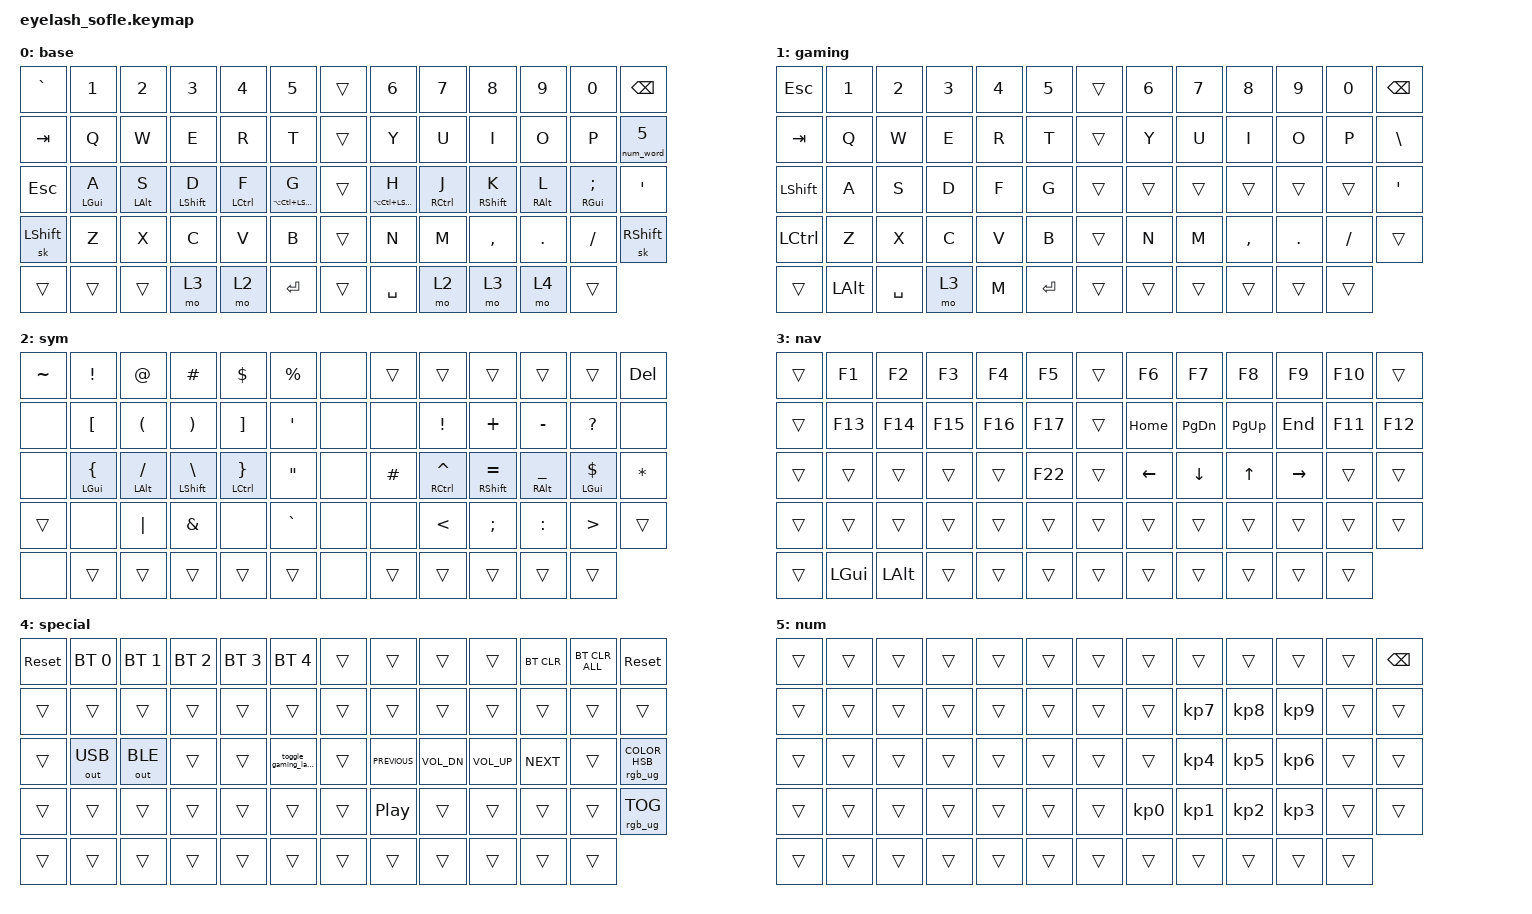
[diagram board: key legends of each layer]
#define ZMK_POINTING_DEFAULT_MOVE_VAL 1200  // 600
#define ZMK_POINTING_DEFAULT_SCRL_VAL 25   // 10

#include <input/processors.dtsi>
#include <zephyr/dt-bindings/input/input-event-codes.h>
#include <behaviors/num_word.dtsi>
#include <zmk-helpers/helper.h>
#include <zmk-helpers/key-labels/sofle.h>
#include <zmk-helpers/unicode-chars/spanish.dtsi>
#include <behaviors.dtsi>
#include <dt-bindings/zmk/bt.h>
#include <dt-bindings/zmk/keys.h>
#include <dt-bindings/zmk/outputs.h>
#include <dt-bindings/zmk/pointing.h>
#include <dt-bindings/zmk/rgb.h>

&mmv_input_listener { input-processors = <&zip_xy_scaler 2 1>; };

&msc_input_listener { input-processors = <&zip_scroll_scaler 2 1>; };

#define ___ &trans

/ {
    scroll_encoder: scroll_encoder {
        compatible = "zmk,behavior-sensor-rotate";
        #sensor-binding-cells = <0>;
        bindings = <&msc SCRL_DOWN>, <&msc SCRL_UP>;

        tap-ms = <100>;
    };

    behaviors {
        hml: home_row_mod_left {
            compatible = "zmk,behavior-hold-tap";
            #binding-cells = <2>;
            flavor = "balanced";
            require-prior-idle-ms = <125>;
            tapping-term-ms = <200>;
            quick-tap-ms = <175>;
            bindings = <&kp>, <&kp>;

            hold-trigger-key-positions = <13 14 15 16 17 18>;
            hold-trigger-on-release;
        };

        hmr: home_row_mod_right {
            compatible = "zmk,behavior-hold-tap";
            #binding-cells = <2>;
            flavor = "balanced";
            require-prior-idle-ms = <125>;
            tapping-term-ms = <200>;
            quick-tap-ms = <175>;
            bindings = <&kp>, <&kp>;

            hold-trigger-key-positions = <1 2 3 4 5 6>;
            hold-trigger-on-release;
        };

        hml_s: homerow_mod_left_sticky {
            compatible = "zmk,behavior-hold-tap";
            #binding-cells = <2>;
            flavor = "balanced";
            require-prior-idle-ms = <125>;
            tapping-term-ms = <200>;
            quick-tap-ms = <175>;
            bindings = <&sk>, <&kp>;

            hold-trigger-key-positions = <13 14 15 16 17 18>;
            hold-trigger-on-release;
            label = "homerow_mod_left_sticky";
        };

        hmr_s: homerow_mod_right_sticky {
            compatible = "zmk,behavior-hold-tap";
            #binding-cells = <2>;
            flavor = "balanced";
            require-prior-idle-ms = <125>;
            tapping-term-ms = <200>;
            quick-tap-ms = <175>;
            bindings = <&sk>, <&kp>;

            hold-trigger-key-positions = <1 2 3 4 5 6>;
            hold-trigger-on-release;
            label = "homerow_mod_right_sticky";
        };
    };

    macros {
        toggle_gaming_layer: toggle_gaming_layer {
            compatible = "zmk,behavior-macro";
            #binding-cells = <0>;
            bindings = <&tog 1 &rgb_ug RGB_TOG>;
            label = "TOGGLE_GAMING_LAYER";
        };
    };

    keymap {
        compatible = "zmk,keymap";

        base {
            bindings = <
&kp GRAVE       &kp N1           &kp N2           &kp N3             &kp N4                 &kp N5                   &trans  &kp N6                &kp N7                  &kp N8              &kp N9            &kp N0                    &kp BACKSPACE
&kp TAB         &kp Q            &kp W            &kp E              &kp R                  &kp T                    &trans  &kp Y                 &kp U                   &kp I               &kp O             &kp P                     &num_word 5
&kp ESCAPE      &hml LEFT_GUI A  &hml LEFT_ALT S  &hml LEFT_SHIFT D  &hml_s LEFT_CONTROL F  &hml LA(LC(LSHIFT)) G    &trans  &hmr LA(LC(LSHFT)) H  &hmr_s RIGHT_CONTROL J  &hmr RIGHT_SHIFT K  &hmr RIGHT_ALT L  &hmr RIGHT_GUI SEMICOLON  &kp SQT
&sk LEFT_SHIFT  &kp Z            &kp X            &kp C              &kp V                  &kp B                    &trans  &kp N                 &kp M                   &kp COMMA           &kp DOT           &kp SLASH                 &sk RIGHT_SHIFT
&trans          &trans           &trans           &mo 3              &mo 2                  &kp ENTER                &trans  &kp SPACE             &mo 2                   &mo 3               &mo 4             &trans
            >;

            display-name = "base";
        };

        gaming {
            bindings = <
&kp ESC    &kp N1        &kp N2     &kp N3  &kp N4  &kp N5       &trans  &kp N6  &kp N7  &kp N8     &kp N9   &kp N0    &kp BSPC
&kp TAB    &kp Q         &kp W      &kp E   &kp R   &kp T        &trans  &kp Y   &kp U   &kp I      &kp O    &kp P     &kp BSLH
&kp LSHFT  &kp A         &kp S      &kp D   &kp F   &kp G        &trans  &trans  &trans  &trans     &trans   &trans    &kp SQT
&kp LCTRL  &kp Z         &kp X      &kp C   &kp V   &kp B        &trans  &kp N   &kp M   &kp COMMA  &kp DOT  &kp FSLH  &trans
&trans     &kp LEFT_ALT  &kp SPACE  &mo 3   &kp M   &kp ENTER    &trans  &trans  &trans  &trans     &trans   &trans
            >;
        };

        sym {
            bindings = <
&kp TILDE  &kp EXCL                  &kp AT_SIGN           &kp HASH                     &kp DOLLAR                &kp PERCENT          &none  &trans    &trans              &trans                    &trans                     &trans                &kp DELETE
&none      &kp LEFT_BRACKET          &kp LEFT_PARENTHESIS  &kp RIGHT_PARENTHESIS        &kp RIGHT_BRACKET         &kp SINGLE_QUOTE     &none  &none     &kp EXCL            &kp PLUS                  &kp MINUS                  &kp QMARK             &none
&none      &hml LEFT_GUI LEFT_BRACE  &hml LEFT_ALT SLASH   &hml_s LEFT_SHIFT BACKSLASH  &hml_s LCTRL RIGHT_BRACE  &kp DOUBLE_QUOTES    &none  &kp HASH  &hmr_s RCTRL CARET  &hmr_s RIGHT_SHIFT EQUAL  &hmr RIGHT_ALT UNDERSCORE  &hmr LEFT_GUI DOLLAR  &kp STAR
&trans     &none                     &kp PIPE              &kp AMPERSAND                &none                     &kp GRAVE            &none  &none     &kp LESS_THAN       &kp SEMI                  &kp COLON                  &kp GREATER_THAN      &trans
&none      &trans                    &trans                &trans                       &trans                    &trans               &none  &trans    &trans              &trans                    &trans                     &trans
            >;

            display-name = "sym";
        };

        nav {
            bindings = <
&trans  &kp F1        &kp F2    &kp F3   &kp F4   &kp F5     &trans  &kp F6    &kp F7          &kp F8       &kp F9     &kp F10  &trans
&trans  &kp F13       &kp F14   &kp F15  &kp F16  &kp F17    &trans  &kp HOME  &kp PAGE_DOWN   &kp PAGE_UP  &kp END    &kp F11  &kp F12
&trans  &trans        &trans    &trans   &trans   &kp F22    &trans  &kp LEFT  &kp DOWN_ARROW  &kp UP       &kp RIGHT  &trans   &trans
&trans  &trans        &trans    &trans   &trans   &trans     &trans  &trans    &trans          &trans       &trans     &trans   &trans
&trans  &kp LEFT_GUI  &kp LALT  &trans   &trans   &trans     &trans  &trans    &trans          &trans       &trans     &trans
            >;
        };

        special {
            bindings = <
&sys_reset  &bt BT_SEL 0  &bt BT_SEL 1  &bt BT_SEL 2  &bt BT_SEL 3  &bt BT_SEL 4            &trans  &trans            &trans        &trans        &bt BT_CLR  &bt BT_CLR_ALL  &sys_reset
&trans      &trans        &trans        &trans        &trans        &trans                  &trans  &trans            &trans        &trans        &trans      &trans          &trans
&trans      &out OUT_USB  &out OUT_BLE  &trans        &trans        &toggle_gaming_layer    &trans  &kp C_PREVIOUS    &kp C_VOL_DN  &kp C_VOL_UP  &kp C_NEXT  &trans          &rgb_ug RGB_COLOR_HSB(290,100,50)
&trans      &trans        &trans        &trans        &trans        &trans                  &trans  &kp C_PLAY_PAUSE  &trans        &trans        &trans      &trans          &rgb_ug RGB_TOG
&trans      &trans        &trans        &trans        &trans        &trans                  &trans  &trans            &trans        &trans        &trans      &trans
            >;

            display-name = "special";
        };

        num {
            bindings = <
&trans  &trans  &trans  &trans  &trans  &trans    &trans  &trans     &trans           &trans           &trans           &trans  &kp BSPC
&trans  &trans  &trans  &trans  &trans  &trans    &trans  &trans     &kp KP_NUMBER_7  &kp KP_NUMBER_8  &kp KP_NUMBER_9  &trans  &trans
&trans  &trans  &trans  &trans  &trans  &trans    &trans  &trans     &kp KP_NUMBER_4  &kp KP_NUMBER_5  &kp KP_NUMBER_6  &trans  &trans
&trans  &trans  &trans  &trans  &trans  &trans    &trans  &kp KP_N0  &kp KP_NUMBER_1  &kp KP_NUMBER_2  &kp KP_NUMBER_3  &trans  &trans
&trans  &trans  &trans  &trans  &trans  &trans    &trans  &trans     &trans           &trans           &trans           &trans
            >;
        };
    };
};
